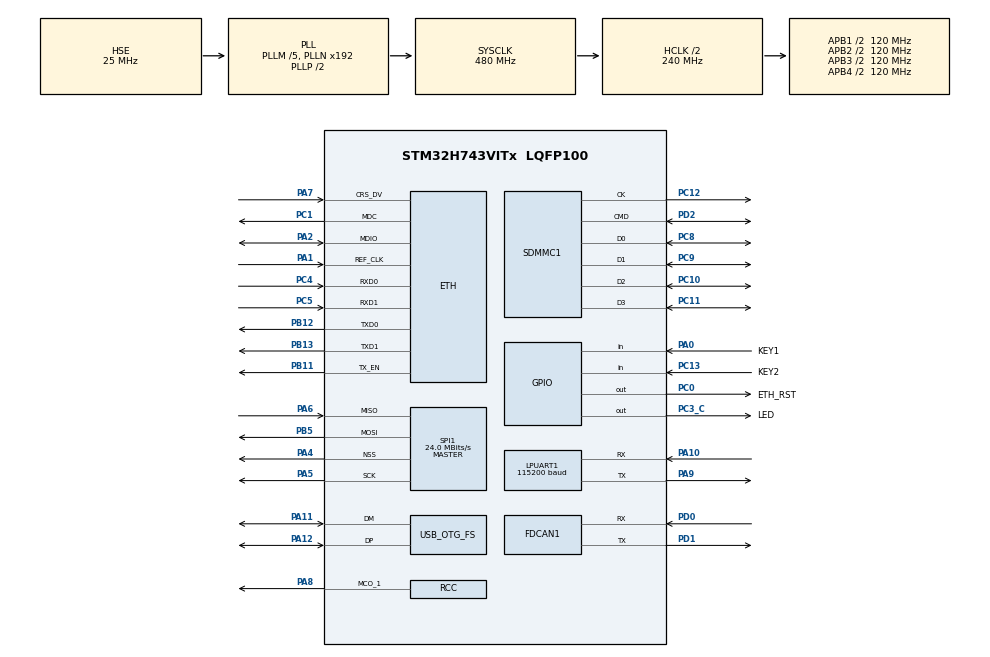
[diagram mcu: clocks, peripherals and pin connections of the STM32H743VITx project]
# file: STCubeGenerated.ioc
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Bdma.LPUART1_RX.1.Direction=DMA_PERIPH_TO_MEMORY
Bdma.LPUART1_RX.1.EventEnable=DISABLE
Bdma.LPUART1_RX.1.Instance=BDMA_Channel1
Bdma.LPUART1_RX.1.MemDataAlignment=DMA_MDATAALIGN_BYTE
Bdma.LPUART1_RX.1.MemInc=DMA_MINC_ENABLE
Bdma.LPUART1_RX.1.Mode=DMA_NORMAL
Bdma.LPUART1_RX.1.PeriphDataAlignment=DMA_PDATAALIGN_BYTE
Bdma.LPUART1_RX.1.PeriphInc=DMA_PINC_DISABLE
Bdma.LPUART1_RX.1.Polarity=HAL_DMAMUX_REQ_GEN_RISING
Bdma.LPUART1_RX.1.Priority=DMA_PRIORITY_LOW
Bdma.LPUART1_RX.1.RequestNumber=1
Bdma.LPUART1_RX.1.SignalID=NONE
Bdma.LPUART1_RX.1.SyncEnable=DISABLE
Bdma.LPUART1_RX.1.SyncPolarity=HAL_DMAMUX_SYNC_NO_EVENT
Bdma.LPUART1_RX.1.SyncRequestNumber=1
Bdma.LPUART1_RX.1.SyncSignalID=NONE
Bdma.LPUART1_TX.0.Direction=DMA_MEMORY_TO_PERIPH
Bdma.LPUART1_TX.0.EventEnable=DISABLE
Bdma.LPUART1_TX.0.Instance=BDMA_Channel0
Bdma.LPUART1_TX.0.MemDataAlignment=DMA_MDATAALIGN_BYTE
Bdma.LPUART1_TX.0.MemInc=DMA_MINC_ENABLE
Bdma.LPUART1_TX.0.Mode=DMA_NORMAL
Bdma.LPUART1_TX.0.PeriphDataAlignment=DMA_PDATAALIGN_BYTE
Bdma.LPUART1_TX.0.PeriphInc=DMA_PINC_DISABLE
Bdma.LPUART1_TX.0.Polarity=HAL_DMAMUX_REQ_GEN_RISING
Bdma.LPUART1_TX.0.Priority=DMA_PRIORITY_LOW
Bdma.LPUART1_TX.0.RequestNumber=1
Bdma.LPUART1_TX.0.SignalID=NONE
Bdma.LPUART1_TX.0.SyncEnable=DISABLE
Bdma.LPUART1_TX.0.SyncPolarity=HAL_DMAMUX_SYNC_NO_EVENT
Bdma.LPUART1_TX.0.SyncRequestNumber=1
Bdma.LPUART1_TX.0.SyncSignalID=NONE
Bdma.Request0=LPUART1_TX
Bdma.Request1=LPUART1_RX
Bdma.RequestsNb=2
CORTEX_M7.AccessPermission_S-Cortex_Memory_Protection_Unit_Region1_Settings_S=MPU_REGION_FULL_ACCESS
CORTEX_M7.AccessPermission_S-Cortex_Memory_Protection_Unit_Region2_Settings_S=MPU_REGION_FULL_ACCESS
CORTEX_M7.AccessPermission_Spec=MPU_REGION_FULL_ACCESS
CORTEX_M7.BaseAddress_S-Cortex_Memory_Protection_Unit_Region1_Settings_S=0x30000000
CORTEX_M7.BaseAddress_S-Cortex_Memory_Protection_Unit_Region2_Settings_S=0x30040000
CORTEX_M7.BaseAddress_Spec=0x24000000
CORTEX_M7.CPU_DCache=Enabled
CORTEX_M7.CPU_ICache=Enabled
CORTEX_M7.DisableExec_S-Cortex_Memory_Protection_Unit_Region1_Settings_S=MPU_INSTRUCTION_ACCESS_DISABLE
CORTEX_M7.DisableExec_S-Cortex_Memory_Protection_Unit_Region2_Settings_S=MPU_INSTRUCTION_ACCESS_DISABLE
CORTEX_M7.Enable_S-Cortex_Memory_Protection_Unit_Region1_Settings_S=MPU_REGION_ENABLE
CORTEX_M7.Enable_S-Cortex_Memory_Protection_Unit_Region2_Settings_S=MPU_REGION_ENABLE
CORTEX_M7.IsBufferable_Spec=MPU_ACCESS_BUFFERABLE
CORTEX_M7.IsCacheable_Spec=MPU_ACCESS_CACHEABLE
CORTEX_M7.IsShareable_Spec=MPU_ACCESS_NOT_SHAREABLE
CORTEX_M7.MPU_Control=MPU_PRIVILEGED_DEFAULT
CORTEX_M7.Size_S-Cortex_Memory_Protection_Unit_Region1_Settings_S=MPU_REGION_SIZE_512KB
CORTEX_M7.Size_S-Cortex_Memory_Protection_Unit_Region2_Settings_S=MPU_REGION_SIZE_256B
CORTEX_M7.Size_Spec=MPU_REGION_SIZE_512KB
CORTEX_M7.SubRegionDisable_Spec=0x0
CORTEX_M7.TypeExtField_S-Cortex_Memory_Protection_Unit_Region1_Settings_S=MPU_TEX_LEVEL1
CORTEX_M7.TypeExtField_Spec=MPU_TEX_LEVEL1
CORTEX_M7.default_mode_Activation=1
Dma.Request0=SPI1_RX
Dma.Request1=SPI1_TX
Dma.SPI1_RX.0.Direction=DMA_PERIPH_TO_MEMORY
Dma.SPI1_RX.0.EventEnable=DISABLE
Dma.SPI1_RX.0.FIFOMode=DMA_FIFOMODE_DISABLE
Dma.SPI1_RX.0.Instance=DMA1_Stream0
Dma.SPI1_RX.0.MemDataAlignment=DMA_MDATAALIGN_BYTE
Dma.SPI1_RX.0.MemInc=DMA_MINC_ENABLE
Dma.SPI1_RX.0.Mode=DMA_NORMAL
Dma.SPI1_RX.0.PeriphDataAlignment=DMA_PDATAALIGN_BYTE
Dma.SPI1_RX.0.PeriphInc=DMA_PINC_DISABLE
Dma.SPI1_RX.0.Polarity=HAL_DMAMUX_REQ_GEN_RISING
Dma.SPI1_RX.0.Priority=DMA_PRIORITY_LOW
Dma.SPI1_RX.0.RequestNumber=1
Dma.SPI1_RX.0.SignalID=NONE
Dma.SPI1_RX.0.SyncEnable=DISABLE
Dma.SPI1_RX.0.SyncPolarity=HAL_DMAMUX_SYNC_NO_EVENT
Dma.SPI1_RX.0.SyncRequestNumber=1
Dma.SPI1_RX.0.SyncSignalID=NONE
Dma.SPI1_TX.1.Direction=DMA_MEMORY_TO_PERIPH
Dma.SPI1_TX.1.EventEnable=DISABLE
Dma.SPI1_TX.1.FIFOMode=DMA_FIFOMODE_DISABLE
Dma.SPI1_TX.1.Instance=DMA1_Stream1
Dma.SPI1_TX.1.MemDataAlignment=DMA_MDATAALIGN_BYTE
Dma.SPI1_TX.1.MemInc=DMA_MINC_ENABLE
Dma.SPI1_TX.1.Mode=DMA_NORMAL
Dma.SPI1_TX.1.PeriphDataAlignment=DMA_PDATAALIGN_BYTE
Dma.SPI1_TX.1.PeriphInc=DMA_PINC_DISABLE
Dma.SPI1_TX.1.Polarity=HAL_DMAMUX_REQ_GEN_RISING
Dma.SPI1_TX.1.Priority=DMA_PRIORITY_LOW
Dma.SPI1_TX.1.RequestNumber=1
Dma.SPI1_TX.1.SignalID=NONE
Dma.SPI1_TX.1.SyncEnable=DISABLE
Dma.SPI1_TX.1.SyncPolarity=HAL_DMAMUX_SYNC_NO_EVENT
Dma.SPI1_TX.1.SyncRequestNumber=1
Dma.SPI1_TX.1.SyncSignalID=NONE
ETH.MediaInterface=HAL_ETH_RMII_MODE
ETH.RxBuffLen=1536
FDCAN1.CalculateBaudRateNominal=374999
FDCAN1.CalculateTimeBitNominal=2666
FDCAN1.CalculateTimeQuantumNominal=533.3333333333334
LPUART1.BaudRate=115200
Mcu.Family=STM32H7
Mcu.Name=STM32H743VITx
Mcu.Package=LQFP100
NVIC.BDMA_Channel0_IRQn=true\:0\:0\:false\:false\:true\:false\:true\:true
NVIC.BDMA_Channel1_IRQn=true\:0\:0\:false\:false\:true\:false\:true\:true
NVIC.DMA1_Stream0_IRQn=true\:0\:0\:false\:false\:true\:false\:true\:true
NVIC.DMA1_Stream1_IRQn=true\:0\:0\:false\:false\:true\:false\:true\:true
NVIC.ETH_IRQn=true\:0\:0\:false\:false\:true\:true\:true\:true
NVIC.ETH_WKUP_IRQn=true\:0\:0\:false\:false\:true\:true\:true\:true
NVIC.LPUART1_IRQn=true\:0\:0\:false\:false\:true\:true\:true\:true
NVIC.OTG_FS_EP1_IN_IRQn=true\:0\:0\:false\:false\:true\:true\:true\:true
NVIC.OTG_FS_EP1_OUT_IRQn=true\:0\:0\:false\:false\:true\:true\:true\:true
NVIC.OTG_FS_IRQn=true\:0\:0\:false\:false\:false\:true\:true\:true
NVIC.PriorityGroup=NVIC_PRIORITYGROUP_4
NVIC.SDMMC1_IRQn=true\:0\:0\:false\:false\:false\:true\:true\:true
NVIC.SPI1_IRQn=true\:0\:0\:false\:false\:true\:true\:true\:true
NVIC.TIM6_DAC_IRQn=true\:15\:0\:false\:false\:true\:false\:true\:true
NVIC.TimeBase=TIM6_DAC_IRQn
NVIC.TimeBaseIP=TIM6
PA0.GPIO_Label=KEY1
PA0.Signal=GPIO_Input
PA1.GPIO_Speed=GPIO_SPEED_FREQ_VERY_HIGH
PA1.Mode=RMII
PA1.Signal=ETH_REF_CLK
PA10.Mode=Asynchronous
PA10.Signal=LPUART1_RX
PA11.GPIO_Speed=GPIO_SPEED_FREQ_VERY_HIGH
PA11.Mode=Device_Only
PA11.Signal=USB_OTG_FS_DM
PA12.GPIO_Speed=GPIO_SPEED_FREQ_VERY_HIGH
PA12.Mode=Device_Only
PA12.Signal=USB_OTG_FS_DP
PA13\ (JTMS/SWDIO).Mode=Serial_Wire
PA13\ (JTMS/SWDIO).Signal=DEBUG_JTMS-SWDIO
PA14\ (JTCK/SWCLK).Mode=Serial_Wire
PA14\ (JTCK/SWCLK).Signal=DEBUG_JTCK-SWCLK
PA2.GPIO_Speed=GPIO_SPEED_FREQ_VERY_HIGH
PA2.Mode=RMII
PA2.Signal=ETH_MDIO
PA4.GPIO_Speed=GPIO_SPEED_FREQ_HIGH
PA4.Mode=NSS_Signal_Hard_Output
PA4.Signal=SPI1_NSS
PA5.GPIO_Speed=GPIO_SPEED_FREQ_HIGH
PA5.Mode=Full_Duplex_Master
PA5.Signal=SPI1_SCK
PA6.GPIO_Speed=GPIO_SPEED_FREQ_HIGH
PA6.Mode=Full_Duplex_Master
PA6.Signal=SPI1_MISO
PA7.GPIO_Speed=GPIO_SPEED_FREQ_VERY_HIGH
PA7.Mode=RMII
PA7.Signal=ETH_CRS_DV
PA8.GPIO_Speed=GPIO_SPEED_FREQ_VERY_HIGH
PA8.Mode=Clock-out-1
PA8.Signal=RCC_MCO_1
PA9.Mode=Asynchronous
PA9.Signal=LPUART1_TX
PB11.GPIO_Speed=GPIO_SPEED_FREQ_VERY_HIGH
PB11.Mode=RMII
PB11.Signal=ETH_TX_EN
PB12.GPIO_Speed=GPIO_SPEED_FREQ_VERY_HIGH
PB12.Mode=RMII
PB12.Signal=ETH_TXD0
PB13.GPIO_Speed=GPIO_SPEED_FREQ_VERY_HIGH
PB13.Mode=RMII
PB13.Signal=ETH_TXD1
PB5.GPIO_Speed=GPIO_SPEED_FREQ_HIGH
PB5.Mode=Full_Duplex_Master
PB5.Signal=SPI1_MOSI
PC0.GPIO_Label=ETH_RST
PC0.GPIO_Speed=GPIO_SPEED_FREQ_LOW
PC0.PinState=GPIO_PIN_SET
PC0.Signal=GPIO_Output
PC1.GPIO_Speed=GPIO_SPEED_FREQ_VERY_HIGH
PC1.Mode=RMII
PC1.Signal=ETH_MDC
PC10.Mode=SD_4_bits_Wide_bus
PC10.Signal=SDMMC1_D2
PC11.Mode=SD_4_bits_Wide_bus
PC11.Signal=SDMMC1_D3
PC12.Mode=SD_4_bits_Wide_bus
PC12.Signal=SDMMC1_CK
PC13.GPIO_Label=KEY2
PC13.Signal=GPIO_Input
PC14-OSC32_IN\ (OSC32_IN).Mode=LSE-External-Oscillator
PC14-OSC32_IN\ (OSC32_IN).Signal=RCC_OSC32_IN
PC15-OSC32_OUT\ (OSC32_OUT).Mode=LSE-External-Oscillator
PC15-OSC32_OUT\ (OSC32_OUT).Signal=RCC_OSC32_OUT
PC3_C.GPIO_Label=LED
PC3_C.PinState=GPIO_PIN_SET
PC3_C.Signal=GPIO_Output
PC4.GPIO_Speed=GPIO_SPEED_FREQ_VERY_HIGH
PC4.Mode=RMII
PC4.Signal=ETH_RXD0
PC5.GPIO_Speed=GPIO_SPEED_FREQ_VERY_HIGH
PC5.Mode=RMII
PC5.Signal=ETH_RXD1
PC8.Mode=SD_4_bits_Wide_bus
PC8.Signal=SDMMC1_D0
PC9.Mode=SD_4_bits_Wide_bus
PC9.Signal=SDMMC1_D1
PD0.Mode=FDCAN_Activate
PD0.Signal=FDCAN1_RX
PD1.Mode=FDCAN_Activate
PD1.Signal=FDCAN1_TX
PD2.Mode=SD_4_bits_Wide_bus
PD2.Signal=SDMMC1_CMD
PH0-OSC_IN\ (PH0).Mode=HSE-External-Oscillator
PH0-OSC_IN\ (PH0).Signal=RCC_OSC_IN
PH1-OSC_OUT\ (PH1).Mode=HSE-External-Oscillator
PH1-OSC_OUT\ (PH1).Signal=RCC_OSC_OUT
ProjectManager.HeapSize=0x2000
ProjectManager.StackSize=0x2000
ProjectManager.TargetToolchain=MDK-ARM V5
RCC.ADCFreq_Value=50000000
RCC.APB1Freq_Value=120000000
RCC.APB2Freq_Value=120000000
RCC.APB3Freq_Value=120000000
RCC.APB4Freq_Value=120000000
RCC.CortexFreq_Value=480000000
RCC.D1PPRE=RCC_APB3_DIV2
RCC.D2PPRE1=RCC_APB1_DIV2
RCC.D2PPRE2=RCC_APB2_DIV2
RCC.D3PPRE=RCC_APB4_DIV2
RCC.DIVM1=5
RCC.DIVM2=2
RCC.DIVM3=5
RCC.DIVN1=192
RCC.DIVN2=12
RCC.DIVN3=48
RCC.DIVP2=3
RCC.DIVP3=1
RCC.DIVQ1=10
RCC.DIVQ2=5
RCC.DIVQ3=5
RCC.DIVR2=1
RCC.FDCANCLockSelection=RCC_FDCANCLKSOURCE_PLL2
RCC.HCLKFreq_Value=240000000
RCC.HPRE=RCC_HCLK_DIV2
RCC.LPUART1CLockSelection=RCC_LPUART1CLKSOURCE_HSI
RCC.PLL2FRACN=0
RCC.PLL3FRACN=0
RCC.PLLFRACN=0
RCC.PLLSourceVirtual=RCC_PLLSOURCE_HSE
RCC.PWR_Regulator_Voltage_Scale=PWR_REGULATOR_VOLTAGE_SCALE0
RCC.RCC_MCO1Source=RCC_MCO1SOURCE_HSE
RCC.RTCClockSelection=RCC_RTCCLKSOURCE_LSE
RCC.SDMMC1CLockSelection=RCC_SDMMCCLKSOURCE_PLL2
RCC.SYSCLKFreq_VALUE=480000000
RCC.SYSCLKSource=RCC_SYSCLKSOURCE_PLLCLK
RCC.USBCLockSelection=RCC_USBCLKSOURCE_PLL3
RCC.USBFreq_Value=48000000
RTC.Date=4
RTC.Format=RTC_FORMAT_BCD
RTC.Month=RTC_MONTH_APRIL
RTC.Year=24
SPI1.BaudRatePrescaler=SPI_BAUDRATEPRESCALER_4
SPI1.CalculateBaudRate=24.0 MBits/s
SPI1.DataSize=SPI_DATASIZE_8BIT
SPI1.Direction=SPI_DIRECTION_2LINES
SPI1.Mode=SPI_MODE_MASTER
SPI1.VirtualNSS=VM_NSSHARD
SPI1.VirtualType=VM_MASTER
USB_OTG_FS.VirtualMode=Device_Only
USB_OTG_FS.dma_enable=ENABLE
VP_RNG_VS_RNG.Mode=RNG_Activate
VP_RTC_VS_RTC_Activate.Mode=RTC_Enabled
VP_RTC_VS_RTC_Calendar.Mode=RTC_Calendar
VP_SYS_VS_tim6.Mode=TIM6
board=custom

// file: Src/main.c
/* USER CODE BEGIN Header */
/**
  ******************************************************************************
  * @file           : main.c
  * @brief          : Main program body
  ******************************************************************************
  * @attention
  *
  * Copyright (c) 2024 STMicroelectronics.
  * All rights reserved.
  *
  * This software is licensed under terms that can be found in the LICENSE file
  * in the root directory of this software component.
  * If no LICENSE file comes with this software, it is provided AS-IS.
  *
  ******************************************************************************
  */
/* USER CODE END Header */
#include "main.h"
#include "string.h"

/* USER CODE BEGIN Includes */
#include "RTE_Components.h"
#if defined(RTE_CMSIS_View_EventRecorder)
#include "EventRecorder.h"
#endif
#include "stdio.h"
#include "cmsis_os2.h"
/* USER CODE END Includes */

#if defined ( __ICCARM__ ) /*!< IAR Compiler */
#pragma location=0x30000000
ETH_DMADescTypeDef  DMARxDscrTab[ETH_RX_DESC_CNT]; /* Ethernet Rx DMA Descriptors */
#pragma location=0x30000200
ETH_DMADescTypeDef  DMATxDscrTab[ETH_TX_DESC_CNT]; /* Ethernet Tx DMA Descriptors */

#elif defined ( __CC_ARM )  /* MDK ARM Compiler */

__attribute__((at(0x30000000))) ETH_DMADescTypeDef  DMARxDscrTab[ETH_RX_DESC_CNT]; /* Ethernet Rx DMA Descriptors */
__attribute__((at(0x30000200))) ETH_DMADescTypeDef  DMATxDscrTab[ETH_TX_DESC_CNT]; /* Ethernet Tx DMA Descriptors */

#elif defined ( __GNUC__ ) /* GNU Compiler */

ETH_DMADescTypeDef DMARxDscrTab[ETH_RX_DESC_CNT] __attribute__((section(".RxDecripSection"))); /* Ethernet Rx DMA Descriptors */
ETH_DMADescTypeDef DMATxDscrTab[ETH_TX_DESC_CNT] __attribute__((section(".TxDecripSection")));   /* Ethernet Tx DMA Descriptors */
#endif

ETH_TxPacketConfig TxConfig;

ETH_HandleTypeDef heth;

FDCAN_HandleTypeDef hfdcan1;

UART_HandleTypeDef hlpuart1;
DMA_HandleTypeDef hdma_lpuart1_tx;
DMA_HandleTypeDef hdma_lpuart1_rx;

RNG_HandleTypeDef hrng;

RTC_HandleTypeDef hrtc;

SD_HandleTypeDef hsd1;

SPI_HandleTypeDef hspi1;
DMA_HandleTypeDef hdma_spi1_rx;
DMA_HandleTypeDef hdma_spi1_tx;

PCD_HandleTypeDef hpcd_USB_OTG_FS;

void SystemClock_Config(void);
void PeriphCommonClock_Config(void);
static void MPU_Config(void);
static void MX_GPIO_Init(void);
static void MX_BDMA_Init(void);
static void MX_DMA_Init(void);
static void MX_RNG_Init(void);
static void MX_RTC_Init(void);
static void MX_LPUART1_UART_Init(void);
static void MX_SPI1_Init(void);
static void MX_FDCAN1_Init(void);
static void MX_SDMMC1_SD_Init(void);
static void MX_USB_OTG_FS_PCD_Init(void);
static void MX_ETH_Init(void);

int main(void)
{

  /* MPU Configuration--------------------------------------------------------*/
  MPU_Config();

  /* Enable the CPU Cache */

  /* Enable I-Cache---------------------------------------------------------*/
  SCB_EnableICache();

  /* Enable D-Cache---------------------------------------------------------*/
  SCB_EnableDCache();

  /* MCU Configuration--------------------------------------------------------*/

  /* Reset of all peripherals, Initializes the Flash interface and the Systick. */
  HAL_Init();

  /* USER CODE BEGIN Init */
	MX_GPIO_Init();
  /* USER CODE END Init */

  /* Configure the system clock */
  SystemClock_Config();

/* Configure the peripherals common clocks */
  PeriphCommonClock_Config();

  /* Initialize all configured peripherals */
  MX_GPIO_Init();
  MX_BDMA_Init();
  MX_DMA_Init();
  MX_RNG_Init();
  MX_RTC_Init();
  MX_LPUART1_UART_Init();
  MX_SPI1_Init();
  MX_FDCAN1_Init();
  MX_SDMMC1_SD_Init();
  MX_USB_OTG_FS_PCD_Init();
  MX_ETH_Init();
  /* USER CODE BEGIN 2 */
#if defined(RTE_CMSIS_View_EventRecorder)
  EventRecorderInitialize (EventRecordAll, 1);    // initialize and start Event Recorder
#endif
#if defined(RTE_CMSIS_Compiler_STDOUT_Custom)
//	extern int stdout_init (void);
//	stdout_init();
#endif

  HAL_GPIO_WritePin(ETH_RST_GPIO_Port , ETH_RST_Pin, GPIO_PIN_RESET);
  HAL_Delay(100);
  HAL_GPIO_WritePin(ETH_RST_GPIO_Port , ETH_RST_Pin, GPIO_PIN_SET);

	extern void app_init(void);
	app_init();

	// Initialize CMSIS-RTOS2
  osKernelInitialize();

	extern void app_main (void *argument);
  // Create application main thread
  osThreadNew(app_main, NULL, NULL);

  // Start the kernel and execute the first thread
  osKernelStart();

  /* USER CODE END 2 */

  /* Infinite loop */
  while (1)
  {

    /* USER CODE BEGIN 3 */
		HAL_GPIO_TogglePin(LED_GPIO_Port, LED_Pin);
		HAL_Delay(1000);
		printf("hello world\n");
  }
  /* USER CODE END 3 */
}

void SystemClock_Config(void)
{
  RCC_OscInitTypeDef RCC_OscInitStruct = {0};
  RCC_ClkInitTypeDef RCC_ClkInitStruct = {0};

  /** Supply configuration update enable
  */
  HAL_PWREx_ConfigSupply(PWR_LDO_SUPPLY);

  /** Configure the main internal regulator output voltage
  */
  __HAL_PWR_VOLTAGESCALING_CONFIG(PWR_REGULATOR_VOLTAGE_SCALE1);

  while(!__HAL_PWR_GET_FLAG(PWR_FLAG_VOSRDY)) {}

  __HAL_RCC_SYSCFG_CLK_ENABLE();
  __HAL_PWR_VOLTAGESCALING_CONFIG(PWR_REGULATOR_VOLTAGE_SCALE0);

  while(!__HAL_PWR_GET_FLAG(PWR_FLAG_VOSRDY)) {}

  /** Configure LSE Drive Capability
  */
  HAL_PWR_EnableBkUpAccess();
  __HAL_RCC_LSEDRIVE_CONFIG(RCC_LSEDRIVE_LOW);

  /** Initializes the RCC Oscillators according to the specified parameters
  * in the RCC_OscInitTypeDef structure.
  */
  RCC_OscInitStruct.OscillatorType = RCC_OSCILLATORTYPE_HSI48|RCC_OSCILLATORTYPE_HSI
                              |RCC_OSCILLATORTYPE_HSE|RCC_OSCILLATORTYPE_LSE;
  RCC_OscInitStruct.HSEState = RCC_HSE_ON;
  RCC_OscInitStruct.LSEState = RCC_LSE_ON;
  RCC_OscInitStruct.HSIState = RCC_HSI_DIV1;
  RCC_OscInitStruct.HSICalibrationValue = RCC_HSICALIBRATION_DEFAULT;
  RCC_OscInitStruct.HSI48State = RCC_HSI48_ON;
  RCC_OscInitStruct.PLL.PLLState = RCC_PLL_ON;
  RCC_OscInitStruct.PLL.PLLSource = RCC_PLLSOURCE_HSE;
  RCC_OscInitStruct.PLL.PLLM = 5;
  RCC_OscInitStruct.PLL.PLLN = 192;
  RCC_OscInitStruct.PLL.PLLP = 2;
  RCC_OscInitStruct.PLL.PLLQ = 10;
  RCC_OscInitStruct.PLL.PLLR = 2;
  RCC_OscInitStruct.PLL.PLLRGE = RCC_PLL1VCIRANGE_2;
  RCC_OscInitStruct.PLL.PLLVCOSEL = RCC_PLL1VCOWIDE;
  RCC_OscInitStruct.PLL.PLLFRACN = 0;
  if (HAL_RCC_OscConfig(&RCC_OscInitStruct) != HAL_OK)
  {
    Error_Handler();
  }

  /** Initializes the CPU, AHB and APB buses clocks
  */
  RCC_ClkInitStruct.ClockType = RCC_CLOCKTYPE_HCLK|RCC_CLOCKTYPE_SYSCLK
                              |RCC_CLOCKTYPE_PCLK1|RCC_CLOCKTYPE_PCLK2
                              |RCC_CLOCKTYPE_D3PCLK1|RCC_CLOCKTYPE_D1PCLK1;
  RCC_ClkInitStruct.SYSCLKSource = RCC_SYSCLKSOURCE_PLLCLK;
  RCC_ClkInitStruct.SYSCLKDivider = RCC_SYSCLK_DIV1;
  RCC_ClkInitStruct.AHBCLKDivider = RCC_HCLK_DIV2;
  RCC_ClkInitStruct.APB3CLKDivider = RCC_APB3_DIV2;
  RCC_ClkInitStruct.APB1CLKDivider = RCC_APB1_DIV2;
  RCC_ClkInitStruct.APB2CLKDivider = RCC_APB2_DIV2;
  RCC_ClkInitStruct.APB4CLKDivider = RCC_APB4_DIV2;

  if (HAL_RCC_ClockConfig(&RCC_ClkInitStruct, FLASH_LATENCY_4) != HAL_OK)
  {
    Error_Handler();
  }
  HAL_RCC_MCOConfig(RCC_MCO1, RCC_MCO1SOURCE_HSE, RCC_MCODIV_1);
}

void PeriphCommonClock_Config(void)
{
  RCC_PeriphCLKInitTypeDef PeriphClkInitStruct = {0};

  /** Initializes the peripherals clock
  */
  PeriphClkInitStruct.PeriphClockSelection = RCC_PERIPHCLK_SDMMC|RCC_PERIPHCLK_FDCAN;
  PeriphClkInitStruct.PLL2.PLL2M = 2;
  PeriphClkInitStruct.PLL2.PLL2N = 12;
  PeriphClkInitStruct.PLL2.PLL2P = 3;
  PeriphClkInitStruct.PLL2.PLL2Q = 5;
  PeriphClkInitStruct.PLL2.PLL2R = 1;
  PeriphClkInitStruct.PLL2.PLL2RGE = RCC_PLL2VCIRANGE_3;
  PeriphClkInitStruct.PLL2.PLL2VCOSEL = RCC_PLL2VCOMEDIUM;
  PeriphClkInitStruct.PLL2.PLL2FRACN = 0;
  PeriphClkInitStruct.SdmmcClockSelection = RCC_SDMMCCLKSOURCE_PLL2;
  PeriphClkInitStruct.FdcanClockSelection = RCC_FDCANCLKSOURCE_PLL2;
  if (HAL_RCCEx_PeriphCLKConfig(&PeriphClkInitStruct) != HAL_OK)
  {
    Error_Handler();
  }
}

static void MX_ETH_Init(void)
{

   static uint8_t MACAddr[6];

  heth.Instance = ETH;
  MACAddr[0] = 0x00;
  MACAddr[1] = 0x80;
  MACAddr[2] = 0xE1;
  MACAddr[3] = 0x00;
  MACAddr[4] = 0x00;
  MACAddr[5] = 0x00;
  heth.Init.MACAddr = &MACAddr[0];
  heth.Init.MediaInterface = HAL_ETH_RMII_MODE;
  heth.Init.TxDesc = DMATxDscrTab;
  heth.Init.RxDesc = DMARxDscrTab;
  heth.Init.RxBuffLen = 1536;

  if (HAL_ETH_Init(&heth) != HAL_OK)
  {
    Error_Handler();
  }

  memset(&TxConfig, 0 , sizeof(ETH_TxPacketConfig));
  TxConfig.Attributes = ETH_TX_PACKETS_FEATURES_CSUM | ETH_TX_PACKETS_FEATURES_CRCPAD;
  TxConfig.ChecksumCtrl = ETH_CHECKSUM_IPHDR_PAYLOAD_INSERT_PHDR_CALC;
  TxConfig.CRCPadCtrl = ETH_CRC_PAD_INSERT;

}

static void MX_FDCAN1_Init(void)
{

  hfdcan1.Instance = FDCAN1;
  hfdcan1.Init.FrameFormat = FDCAN_FRAME_CLASSIC;
  hfdcan1.Init.Mode = FDCAN_MODE_NORMAL;
  hfdcan1.Init.AutoRetransmission = DISABLE;
  hfdcan1.Init.TransmitPause = DISABLE;
  hfdcan1.Init.ProtocolException = DISABLE;
  hfdcan1.Init.NominalPrescaler = 16;
  hfdcan1.Init.NominalSyncJumpWidth = 1;
  hfdcan1.Init.NominalTimeSeg1 = 2;
  hfdcan1.Init.NominalTimeSeg2 = 2;
  hfdcan1.Init.DataPrescaler = 1;
  hfdcan1.Init.DataSyncJumpWidth = 1;
  hfdcan1.Init.DataTimeSeg1 = 1;
  hfdcan1.Init.DataTimeSeg2 = 1;
  hfdcan1.Init.MessageRAMOffset = 0;
  hfdcan1.Init.StdFiltersNbr = 0;
  hfdcan1.Init.ExtFiltersNbr = 0;
  hfdcan1.Init.RxFifo0ElmtsNbr = 0;
  hfdcan1.Init.RxFifo0ElmtSize = FDCAN_DATA_BYTES_8;
  hfdcan1.Init.RxFifo1ElmtsNbr = 0;
  hfdcan1.Init.RxFifo1ElmtSize = FDCAN_DATA_BYTES_8;
  hfdcan1.Init.RxBuffersNbr = 0;
  hfdcan1.Init.RxBufferSize = FDCAN_DATA_BYTES_8;
  hfdcan1.Init.TxEventsNbr = 0;
  hfdcan1.Init.TxBuffersNbr = 0;
  hfdcan1.Init.TxFifoQueueElmtsNbr = 0;
  hfdcan1.Init.TxFifoQueueMode = FDCAN_TX_FIFO_OPERATION;
  hfdcan1.Init.TxElmtSize = FDCAN_DATA_BYTES_8;
  if (HAL_FDCAN_Init(&hfdcan1) != HAL_OK)
  {
    Error_Handler();
  }

}

static void MX_LPUART1_UART_Init(void)
{

  hlpuart1.Instance = LPUART1;
  hlpuart1.Init.BaudRate = 115200;
  hlpuart1.Init.WordLength = UART_WORDLENGTH_8B;
  hlpuart1.Init.StopBits = UART_STOPBITS_1;
  hlpuart1.Init.Parity = UART_PARITY_NONE;
  hlpuart1.Init.Mode = UART_MODE_TX_RX;
  hlpuart1.Init.HwFlowCtl = UART_HWCONTROL_NONE;
  hlpuart1.Init.OneBitSampling = UART_ONE_BIT_SAMPLE_DISABLE;
  hlpuart1.Init.ClockPrescaler = UART_PRESCALER_DIV1;
  hlpuart1.AdvancedInit.AdvFeatureInit = UART_ADVFEATURE_NO_INIT;
  hlpuart1.FifoMode = UART_FIFOMODE_DISABLE;
  if (HAL_UART_Init(&hlpuart1) != HAL_OK)
  {
    Error_Handler();
  }
  if (HAL_UARTEx_SetTxFifoThreshold(&hlpuart1, UART_TXFIFO_THRESHOLD_1_8) != HAL_OK)
  {
    Error_Handler();
  }
  if (HAL_UARTEx_SetRxFifoThreshold(&hlpuart1, UART_RXFIFO_THRESHOLD_1_8) != HAL_OK)
  {
    Error_Handler();
  }
  if (HAL_UARTEx_DisableFifoMode(&hlpuart1) != HAL_OK)
  {
    Error_Handler();
  }

}

static void MX_RNG_Init(void)
{

  hrng.Instance = RNG;
  hrng.Init.ClockErrorDetection = RNG_CED_ENABLE;
  if (HAL_RNG_Init(&hrng) != HAL_OK)
  {
    Error_Handler();
  }

}

static void MX_RTC_Init(void)
{

  RTC_TimeTypeDef sTime = {0};
  RTC_DateTypeDef sDate = {0};

  /** Initialize RTC Only
  */
  hrtc.Instance = RTC;
  hrtc.Init.HourFormat = RTC_HOURFORMAT_24;
  hrtc.Init.AsynchPrediv = 127;
  hrtc.Init.SynchPrediv = 255;
  hrtc.Init.OutPut = RTC_OUTPUT_DISABLE;
  hrtc.Init.OutPutPolarity = RTC_OUTPUT_POLARITY_HIGH;
  hrtc.Init.OutPutType = RTC_OUTPUT_TYPE_OPENDRAIN;
  hrtc.Init.OutPutRemap = RTC_OUTPUT_REMAP_NONE;
  if (HAL_RTC_Init(&hrtc) != HAL_OK)
  {
    Error_Handler();
  }

  /** Initialize RTC and set the Time and Date
  */
  sTime.Hours = 0x0;
  sTime.Minutes = 0x0;
  sTime.Seconds = 0x0;
  sTime.DayLightSaving = RTC_DAYLIGHTSAVING_NONE;
  sTime.StoreOperation = RTC_STOREOPERATION_RESET;
  if (HAL_RTC_SetTime(&hrtc, &sTime, RTC_FORMAT_BCD) != HAL_OK)
  {
    Error_Handler();
  }
  sDate.WeekDay = RTC_WEEKDAY_MONDAY;
  sDate.Month = RTC_MONTH_APRIL;
  sDate.Date = 0x4;
  sDate.Year = 0x24;

  if (HAL_RTC_SetDate(&hrtc, &sDate, RTC_FORMAT_BCD) != HAL_OK)
  {
    Error_Handler();
  }

}

static void MX_SDMMC1_SD_Init(void)
{

  hsd1.Instance = SDMMC1;
  hsd1.Init.ClockEdge = SDMMC_CLOCK_EDGE_RISING;
  hsd1.Init.ClockPowerSave = SDMMC_CLOCK_POWER_SAVE_DISABLE;
  hsd1.Init.BusWide = SDMMC_BUS_WIDE_4B;
  hsd1.Init.HardwareFlowControl = SDMMC_HARDWARE_FLOW_CONTROL_DISABLE;
  hsd1.Init.ClockDiv = 0;
  if (HAL_SD_Init(&hsd1) != HAL_OK)
  {
    Error_Handler();
  }

}

static void MX_SPI1_Init(void)
{

  /* SPI1 parameter configuration*/
  hspi1.Instance = SPI1;
  hspi1.Init.Mode = SPI_MODE_MASTER;
  hspi1.Init.Direction = SPI_DIRECTION_2LINES;
  hspi1.Init.DataSize = SPI_DATASIZE_8BIT;
  hspi1.Init.CLKPolarity = SPI_POLARITY_LOW;
  hspi1.Init.CLKPhase = SPI_PHASE_1EDGE;
  hspi1.Init.NSS = SPI_NSS_HARD_OUTPUT;
  hspi1.Init.BaudRatePrescaler = SPI_BAUDRATEPRESCALER_4;
  hspi1.Init.FirstBit = SPI_FIRSTBIT_MSB;
  hspi1.Init.TIMode = SPI_TIMODE_DISABLE;
  hspi1.Init.CRCCalculation = SPI_CRCCALCULATION_DISABLE;
  hspi1.Init.CRCPolynomial = 0x0;
  hspi1.Init.NSSPMode = SPI_NSS_PULSE_ENABLE;
  hspi1.Init.NSSPolarity = SPI_NSS_POLARITY_LOW;
  hspi1.Init.FifoThreshold = SPI_FIFO_THRESHOLD_01DATA;
  hspi1.Init.TxCRCInitializationPattern = SPI_CRC_INITIALIZATION_ALL_ZERO_PATTERN;
  hspi1.Init.RxCRCInitializationPattern = SPI_CRC_INITIALIZATION_ALL_ZERO_PATTERN;
  hspi1.Init.MasterSSIdleness = SPI_MASTER_SS_IDLENESS_00CYCLE;
  hspi1.Init.MasterInterDataIdleness = SPI_MASTER_INTERDATA_IDLENESS_00CYCLE;
  hspi1.Init.MasterReceiverAutoSusp = SPI_MASTER_RX_AUTOSUSP_DISABLE;
  hspi1.Init.MasterKeepIOState = SPI_MASTER_KEEP_IO_STATE_DISABLE;
  hspi1.Init.IOSwap = SPI_IO_SWAP_DISABLE;
  if (HAL_SPI_Init(&hspi1) != HAL_OK)
  {
    Error_Handler();
  }

}

static void MX_USB_OTG_FS_PCD_Init(void)
{

  hpcd_USB_OTG_FS.Instance = USB_OTG_FS;
  hpcd_USB_OTG_FS.Init.dev_endpoints = 9;
  hpcd_USB_OTG_FS.Init.speed = PCD_SPEED_FULL;
  hpcd_USB_OTG_FS.Init.dma_enable = ENABLE;
  hpcd_USB_OTG_FS.Init.phy_itface = PCD_PHY_EMBEDDED;
  hpcd_USB_OTG_FS.Init.Sof_enable = DISABLE;
  hpcd_USB_OTG_FS.Init.low_power_enable = DISABLE;
  hpcd_USB_OTG_FS.Init.lpm_enable = DISABLE;
  hpcd_USB_OTG_FS.Init.battery_charging_enable = DISABLE;
  hpcd_USB_OTG_FS.Init.vbus_sensing_enable = DISABLE;
  hpcd_USB_OTG_FS.Init.use_dedicated_ep1 = DISABLE;
  if (HAL_PCD_Init(&hpcd_USB_OTG_FS) != HAL_OK)
  {
    Error_Handler();
  }

}

static void MX_BDMA_Init(void)
{

  /* DMA controller clock enable */
  __HAL_RCC_BDMA_CLK_ENABLE();

  /* DMA interrupt init */
  /* BDMA_Channel0_IRQn interrupt configuration */
  HAL_NVIC_SetPriority(BDMA_Channel0_IRQn, 0, 0);
  HAL_NVIC_EnableIRQ(BDMA_Channel0_IRQn);
  /* BDMA_Channel1_IRQn interrupt configuration */
  HAL_NVIC_SetPriority(BDMA_Channel1_IRQn, 0, 0);
  HAL_NVIC_EnableIRQ(BDMA_Channel1_IRQn);

}

static void MX_DMA_Init(void)
{

  /* DMA controller clock enable */
  __HAL_RCC_DMA1_CLK_ENABLE();

  /* DMA interrupt init */
  /* DMA1_Stream0_IRQn interrupt configuration */
  HAL_NVIC_SetPriority(DMA1_Stream0_IRQn, 0, 0);
  HAL_NVIC_EnableIRQ(DMA1_Stream0_IRQn);
  /* DMA1_Stream1_IRQn interrupt configuration */
  HAL_NVIC_SetPriority(DMA1_Stream1_IRQn, 0, 0);
  HAL_NVIC_EnableIRQ(DMA1_Stream1_IRQn);

}

static void MX_GPIO_Init(void)
{
  GPIO_InitTypeDef GPIO_InitStruct = {0};

  /* GPIO Ports Clock Enable */
  __HAL_RCC_GPIOC_CLK_ENABLE();
  __HAL_RCC_GPIOH_CLK_ENABLE();
  __HAL_RCC_GPIOA_CLK_ENABLE();
  __HAL_RCC_GPIOB_CLK_ENABLE();
  __HAL_RCC_GPIOD_CLK_ENABLE();

  /*Configure GPIO pin Output Level */
  HAL_GPIO_WritePin(GPIOC, ETH_RST_Pin|LED_Pin, GPIO_PIN_SET);

  /*Configure GPIO pin : KEY2_Pin */
  GPIO_InitStruct.Pin = KEY2_Pin;
  GPIO_InitStruct.Mode = GPIO_MODE_INPUT;
  GPIO_InitStruct.Pull = GPIO_NOPULL;
  HAL_GPIO_Init(KEY2_GPIO_Port, &GPIO_InitStruct);

  /*Configure GPIO pins : ETH_RST_Pin LED_Pin */
  GPIO_InitStruct.Pin = ETH_RST_Pin|LED_Pin;
  GPIO_InitStruct.Mode = GPIO_MODE_OUTPUT_PP;
  GPIO_InitStruct.Pull = GPIO_NOPULL;
  GPIO_InitStruct.Speed = GPIO_SPEED_FREQ_LOW;
  HAL_GPIO_Init(GPIOC, &GPIO_InitStruct);

  /*Configure GPIO pin : KEY1_Pin */
  GPIO_InitStruct.Pin = KEY1_Pin;
  GPIO_InitStruct.Mode = GPIO_MODE_INPUT;
  GPIO_InitStruct.Pull = GPIO_NOPULL;
  HAL_GPIO_Init(KEY1_GPIO_Port, &GPIO_InitStruct);

  /*Configure GPIO pin : PA8 */
  GPIO_InitStruct.Pin = GPIO_PIN_8;
  GPIO_InitStruct.Mode = GPIO_MODE_AF_PP;
  GPIO_InitStruct.Pull = GPIO_NOPULL;
  GPIO_InitStruct.Speed = GPIO_SPEED_FREQ_VERY_HIGH;
  GPIO_InitStruct.Alternate = GPIO_AF0_MCO;
  HAL_GPIO_Init(GPIOA, &GPIO_InitStruct);

}

 /* MPU Configuration */

void MPU_Config(void)
{
  MPU_Region_InitTypeDef MPU_InitStruct = {0};

  /* Disables the MPU */
  HAL_MPU_Disable();

  /** Initializes and configures the Region and the memory to be protected
  */
  MPU_InitStruct.Enable = MPU_REGION_ENABLE;
  MPU_InitStruct.Number = MPU_REGION_NUMBER0;
  MPU_InitStruct.BaseAddress = 0x24000000;
  MPU_InitStruct.Size = MPU_REGION_SIZE_512KB;
  MPU_InitStruct.SubRegionDisable = 0x0;
  MPU_InitStruct.TypeExtField = MPU_TEX_LEVEL1;
  MPU_InitStruct.AccessPermission = MPU_REGION_FULL_ACCESS;
  MPU_InitStruct.DisableExec = MPU_INSTRUCTION_ACCESS_DISABLE;
  MPU_InitStruct.IsShareable = MPU_ACCESS_NOT_SHAREABLE;
  MPU_InitStruct.IsCacheable = MPU_ACCESS_CACHEABLE;
  MPU_InitStruct.IsBufferable = MPU_ACCESS_BUFFERABLE;

  HAL_MPU_ConfigRegion(&MPU_InitStruct);

  /** Initializes and configures the Region and the memory to be protected
  */
  MPU_InitStruct.Number = MPU_REGION_NUMBER1;
  MPU_InitStruct.BaseAddress = 0x30000000;
  MPU_InitStruct.IsCacheable = MPU_ACCESS_NOT_CACHEABLE;
  MPU_InitStruct.IsBufferable = MPU_ACCESS_NOT_BUFFERABLE;

  HAL_MPU_ConfigRegion(&MPU_InitStruct);

  /** Initializes and configures the Region and the memory to be protected
  */
  MPU_InitStruct.Number = MPU_REGION_NUMBER2;
  MPU_InitStruct.BaseAddress = 0x30040000;
  MPU_InitStruct.Size = MPU_REGION_SIZE_256B;
  MPU_InitStruct.TypeExtField = MPU_TEX_LEVEL0;

  HAL_MPU_ConfigRegion(&MPU_InitStruct);
  /* Enables the MPU */
  HAL_MPU_Enable(MPU_PRIVILEGED_DEFAULT);

}

void HAL_TIM_PeriodElapsedCallback(TIM_HandleTypeDef *htim)
{
  if (htim->Instance == TIM6) {
    HAL_IncTick();
  }
}

void Error_Handler(void)
{
  __disable_irq();
  while (1)
  {
  }
}
